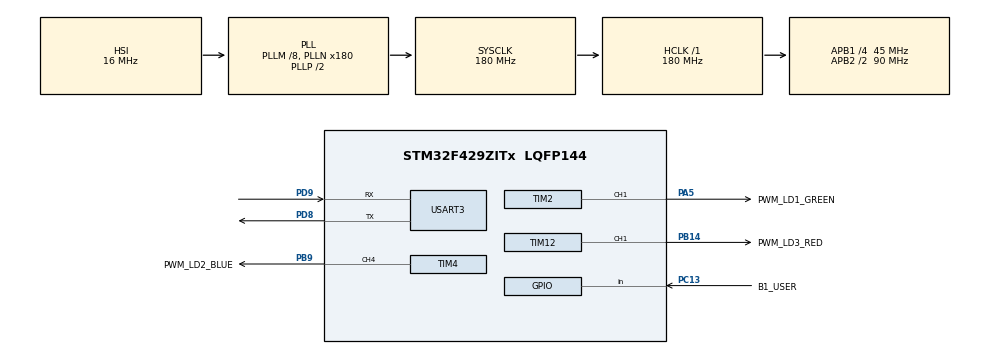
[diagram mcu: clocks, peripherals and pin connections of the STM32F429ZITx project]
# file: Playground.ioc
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Dma.Request0=USART3_RX
Dma.Request1=USART3_TX
Dma.USART3_RX.0.Direction=DMA_PERIPH_TO_MEMORY
Dma.USART3_RX.0.FIFOMode=DMA_FIFOMODE_DISABLE
Dma.USART3_RX.0.Instance=DMA1_Stream1
Dma.USART3_RX.0.MemDataAlignment=DMA_MDATAALIGN_BYTE
Dma.USART3_RX.0.MemInc=DMA_MINC_ENABLE
Dma.USART3_RX.0.Mode=DMA_NORMAL
Dma.USART3_RX.0.PeriphDataAlignment=DMA_PDATAALIGN_BYTE
Dma.USART3_RX.0.PeriphInc=DMA_PINC_DISABLE
Dma.USART3_RX.0.Priority=DMA_PRIORITY_LOW
Dma.USART3_TX.1.Direction=DMA_MEMORY_TO_PERIPH
Dma.USART3_TX.1.FIFOMode=DMA_FIFOMODE_DISABLE
Dma.USART3_TX.1.Instance=DMA1_Stream3
Dma.USART3_TX.1.MemDataAlignment=DMA_MDATAALIGN_BYTE
Dma.USART3_TX.1.MemInc=DMA_MINC_ENABLE
Dma.USART3_TX.1.Mode=DMA_NORMAL
Dma.USART3_TX.1.PeriphDataAlignment=DMA_PDATAALIGN_BYTE
Dma.USART3_TX.1.PeriphInc=DMA_PINC_DISABLE
Dma.USART3_TX.1.Priority=DMA_PRIORITY_LOW
FREERTOS.INCLUDE_uxTaskGetStackHighWaterMark2=1
FREERTOS.Queues01=QueSwd,16,uint8_t,0,Dynamic,NULL,NULL;QueRtc,4,sttRtcDateTime,0,Dynamic,NULL,NULL
FREERTOS.Tasks01=TSK_BUTTON,24,1024,TaskButton,Default,NULL,Dynamic,NULL,NULL;TSK_LED,24,1024,TaskLed,Default,NULL,Dynamic,NULL,NULL;TSK_SWD,8,1024,TaskSwd,Default,NULL,Dynamic,NULL,NULL;TSK_RTC,24,256,TaskRtc,Default,NULL,Dynamic,NULL,NULL
FREERTOS.configTOTAL_HEAP_SIZE=20480
FREERTOS.configUSE_IDLE_HOOK=1
FREERTOS.configUSE_NEWLIB_REENTRANT=1
FREERTOS.configUSE_TICK_HOOK=1
FREERTOS.copyHeapFile=1
Mcu.Family=STM32F4
Mcu.Name=STM32F429ZITx
Mcu.Package=LQFP144
NVIC.DMA1_Stream1_IRQn=true\:5\:0\:false\:false\:true\:true\:false\:true\:true
NVIC.DMA1_Stream3_IRQn=true\:5\:0\:false\:false\:true\:true\:false\:true\:true
NVIC.PriorityGroup=NVIC_PRIORITYGROUP_4
NVIC.RTC_WKUP_IRQn=true\:5\:0\:false\:false\:true\:true\:true\:true\:true
NVIC.TIM8_TRG_COM_TIM14_IRQn=true\:15\:0\:false\:false\:true\:false\:false\:true\:true
NVIC.TimeBase=TIM8_TRG_COM_TIM14_IRQn
NVIC.TimeBaseIP=TIM14
NVIC.USART3_IRQn=true\:5\:0\:false\:false\:true\:true\:true\:true\:true
PA13.Mode=Serial_Wire
PA13.Signal=SYS_JTMS-SWDIO
PA14.Mode=Serial_Wire
PA14.Signal=SYS_JTCK-SWCLK
PA5.GPIO_Label=PWM_LD1_GREEN
PA5.Signal=S_TIM2_CH1_ETR
PB14.GPIO_Label=PWM_LD3_RED
PB14.Signal=S_TIM12_CH1
PB9.GPIO_Label=PWM_LD2_BLUE
PB9.Signal=S_TIM4_CH4
PC13.GPIO_Label=B1_USER
PC13.GPIO_PuPd=GPIO_PULLUP
PC13.Signal=GPIO_Input
PC14/OSC32_IN.Mode=LSE-External-Oscillator
PC14/OSC32_IN.Signal=RCC_OSC32_IN
PC15/OSC32_OUT.Mode=LSE-External-Oscillator
PC15/OSC32_OUT.Signal=RCC_OSC32_OUT
PD8.Mode=Asynchronous
PD8.Signal=USART3_TX
PD9.Mode=Asynchronous
PD9.Signal=USART3_RX
ProjectManager.HeapSize=0x200
ProjectManager.StackSize=0x400
ProjectManager.TargetToolchain=STM32CubeIDE
RCC.48MHZClocksFreq_Value=90000000
RCC.AHBFreq_Value=180000000
RCC.APB1CLKDivider=RCC_HCLK_DIV4
RCC.APB1Freq_Value=45000000
RCC.APB1TimFreq_Value=90000000
RCC.APB2CLKDivider=RCC_HCLK_DIV2
RCC.APB2Freq_Value=90000000
RCC.APB2TimFreq_Value=180000000
RCC.CortexFreq_Value=180000000
RCC.HCLKFreq_Value=180000000
RCC.HSE_VALUE=25000000
RCC.HSI_VALUE=16000000
RCC.PLLM=8
RCC.PLLN=180
RCC.SYSCLKFreq_VALUE=180000000
RCC.SYSCLKSource=RCC_SYSCLKSOURCE_PLLCLK
RCC.VCOOutputFreq_Value=360000000
RTC.WakeUpClock=RTC_WAKEUPCLOCK_CK_SPRE_16BITS
SH.S_TIM12_CH1.0=TIM12_CH1,PWM Generation1 CH1
SH.S_TIM2_CH1_ETR.0=TIM2_CH1,PWM Generation1 CH1
SH.S_TIM4_CH4.0=TIM4_CH4,PWM Generation4 CH4
TIM12.Channel-PWM\ Generation1\ CH1=TIM_CHANNEL_1
TIM12.Period=8999
TIM2.Channel-PWM\ Generation1\ CH1=TIM_CHANNEL_1
TIM2.Period=8999
TIM4.Channel-PWM\ Generation4\ CH4=TIM_CHANNEL_4
TIM4.Period=8999
USART3.VirtualMode=VM_ASYNC
VP_FREERTOS_VS_CMSIS_V2.Mode=CMSIS_V2
VP_RTC_VS_RTC_Activate.Mode=RTC_Enabled
VP_RTC_VS_RTC_Calendar.Mode=RTC_Calendar
VP_RTC_VS_RTC_WakeUp_intern.Mode=WakeUp
VP_SYS_VS_tim14.Mode=TIM14
VP_TIM12_VS_ClockSourceINT.Mode=Internal
VP_TIM2_VS_ClockSourceINT.Mode=Internal
VP_TIM4_VS_ClockSourceINT.Mode=Internal
board=custom

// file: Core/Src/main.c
/* USER CODE BEGIN Header */
/**
  ******************************************************************************
  * @file           : main.c
  * @brief          : Main program body
  ******************************************************************************
  * @attention
  *
  * Copyright (c) 2024 STMicroelectronics.
  * All rights reserved.
  *
  * This software is licensed under terms that can be found in the LICENSE file
  * in the root directory of this software component.
  * If no LICENSE file comes with this software, it is provided AS-IS.
  *
  ******************************************************************************
  */
/* USER CODE END Header */
#include "main.h"
#include "cmsis_os.h"
#include "dma.h"
#include "rtc.h"
#include "tim.h"
#include "usart.h"
#include "gpio.h"

void SystemClock_Config(void);
void MX_FREERTOS_Init(void);

int main(void)
{

  /* MCU Configuration--------------------------------------------------------*/

  /* Reset of all peripherals, Initializes the Flash interface and the Systick. */
  HAL_Init();

  /* Configure the system clock */
  SystemClock_Config();

  /* Initialize all configured peripherals */
  MX_GPIO_Init();
  MX_DMA_Init();
  MX_TIM2_Init();
  MX_TIM4_Init();
  MX_TIM12_Init();
  MX_USART3_UART_Init();
  MX_RTC_Init();

  /* Init scheduler */
  osKernelInitialize();

  /* Call init function for freertos objects (in cmsis_os2.c) */
  MX_FREERTOS_Init();

  /* Start scheduler */
  osKernelStart();

  /* We should never get here as control is now taken by the scheduler */

  /* Infinite loop */
  while (1)
  {

  }
}

void SystemClock_Config(void)
{
  RCC_OscInitTypeDef RCC_OscInitStruct = {0};
  RCC_ClkInitTypeDef RCC_ClkInitStruct = {0};

  /** Configure the main internal regulator output voltage
  */
  __HAL_RCC_PWR_CLK_ENABLE();
  __HAL_PWR_VOLTAGESCALING_CONFIG(PWR_REGULATOR_VOLTAGE_SCALE1);

  /** Initializes the RCC Oscillators according to the specified parameters
  * in the RCC_OscInitTypeDef structure.
  */
  RCC_OscInitStruct.OscillatorType = RCC_OSCILLATORTYPE_HSI|RCC_OSCILLATORTYPE_LSI;
  RCC_OscInitStruct.HSIState = RCC_HSI_ON;
  RCC_OscInitStruct.HSICalibrationValue = RCC_HSICALIBRATION_DEFAULT;
  RCC_OscInitStruct.LSIState = RCC_LSI_ON;
  RCC_OscInitStruct.PLL.PLLState = RCC_PLL_ON;
  RCC_OscInitStruct.PLL.PLLSource = RCC_PLLSOURCE_HSI;
  RCC_OscInitStruct.PLL.PLLM = 8;
  RCC_OscInitStruct.PLL.PLLN = 180;
  RCC_OscInitStruct.PLL.PLLP = RCC_PLLP_DIV2;
  RCC_OscInitStruct.PLL.PLLQ = 4;
  if (HAL_RCC_OscConfig(&RCC_OscInitStruct) != HAL_OK)
  {
    Error_Handler();
  }

  /** Activate the Over-Drive mode
  */
  if (HAL_PWREx_EnableOverDrive() != HAL_OK)
  {
    Error_Handler();
  }

  /** Initializes the CPU, AHB and APB buses clocks
  */
  RCC_ClkInitStruct.ClockType = RCC_CLOCKTYPE_HCLK|RCC_CLOCKTYPE_SYSCLK
                              |RCC_CLOCKTYPE_PCLK1|RCC_CLOCKTYPE_PCLK2;
  RCC_ClkInitStruct.SYSCLKSource = RCC_SYSCLKSOURCE_PLLCLK;
  RCC_ClkInitStruct.AHBCLKDivider = RCC_SYSCLK_DIV1;
  RCC_ClkInitStruct.APB1CLKDivider = RCC_HCLK_DIV4;
  RCC_ClkInitStruct.APB2CLKDivider = RCC_HCLK_DIV2;

  if (HAL_RCC_ClockConfig(&RCC_ClkInitStruct, FLASH_LATENCY_5) != HAL_OK)
  {
    Error_Handler();
  }
}

void HAL_TIM_PeriodElapsedCallback(TIM_HandleTypeDef *htim)
{
  if (htim->Instance == TIM14) {
    HAL_IncTick();
  }
}

void Error_Handler(void)
{
  __disable_irq();
  while (1)
  {
  }
}

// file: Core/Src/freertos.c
/* USER CODE BEGIN Header */
/**
  ******************************************************************************
  * File Name          : freertos.c
  * Description        : Code for freertos applications
  ******************************************************************************
  * @attention
  *
  * Copyright (c) 2024 STMicroelectronics.
  * All rights reserved.
  *
  * This software is licensed under terms that can be found in the LICENSE file
  * in the root directory of this software component.
  * If no LICENSE file comes with this software, it is provided AS-IS.
  *
  ******************************************************************************
  */
/* USER CODE END Header */

#include "FreeRTOS.h"
#include "task.h"
#include "main.h"
#include "cmsis_os.h"

/* USER CODE BEGIN Includes */
#include "Service/ServicePeriodic.h"
#include "Service/ServiceRtc.h"
#include "Task/TaskButton.h"
#include "Task/TaskLed.h"
#include "Task/TaskSwd.h"
#include "Task/TaskRtc.h"
#include "Tool/ToolSwd.h"

/* USER CODE END Includes */

/* USER CODE BEGIN Variables */
static uint32_t gulTickCounter;

/* USER CODE END Variables */
/* Definitions for TSK_BUTTON */
osThreadId_t TSK_BUTTONHandle;
const osThreadAttr_t TSK_BUTTON_attributes = {
  .name = "TSK_BUTTON",
  .stack_size = 1024 * 4,
  .priority = (osPriority_t) osPriorityNormal,
};
/* Definitions for TSK_LED */
osThreadId_t TSK_LEDHandle;
const osThreadAttr_t TSK_LED_attributes = {
  .name = "TSK_LED",
  .stack_size = 1024 * 4,
  .priority = (osPriority_t) osPriorityNormal,
};
/* Definitions for TSK_SWD */
osThreadId_t TSK_SWDHandle;
const osThreadAttr_t TSK_SWD_attributes = {
  .name = "TSK_SWD",
  .stack_size = 1024 * 4,
  .priority = (osPriority_t) osPriorityLow,
};
/* Definitions for TSK_RTC */
osThreadId_t TSK_RTCHandle;
const osThreadAttr_t TSK_RTC_attributes = {
  .name = "TSK_RTC",
  .stack_size = 256 * 4,
  .priority = (osPriority_t) osPriorityNormal,
};
/* Definitions for QueSwd */
osMessageQueueId_t QueSwdHandle;
const osMessageQueueAttr_t QueSwd_attributes = {
  .name = "QueSwd"
};
/* Definitions for QueRtc */
osMessageQueueId_t QueRtcHandle;
const osMessageQueueAttr_t QueRtc_attributes = {
  .name = "QueRtc"
};

void TaskButton(void *argument);
void TaskLed(void *argument);
void TaskSwd(void *argument);
void TaskRtc(void *argument);

void MX_FREERTOS_Init(void); /* (MISRA C 2004 rule 8.1) */

/* Hook prototypes */
void vApplicationIdleHook(void);
void vApplicationTickHook(void);

/* USER CODE BEGIN 2 */
void vApplicationIdleHook( void )
{
   /* vApplicationIdleHook() will only be called if configUSE_IDLE_HOOK is set
   to 1 in FreeRTOSConfig.h. It will be called on each iteration of the idle
   task. It is essential that code added to this hook function never attempts
   to block in any way (for example, call xQueueReceive() with a block time
   specified, or call vTaskDelay()). If the application makes use of the
   vTaskDelete() API function (as this demo application does) then it is also
   important that vApplicationIdleHook() is permitted to return to its calling
   function, because it is the responsibility of the idle task to clean up
   memory allocated by the kernel to any task that has since been deleted. */
}
/* USER CODE END 2 */

/* USER CODE BEGIN 3 */
void vApplicationTickHook( void )
{
   /* This function will be called by each tick interrupt if
   configUSE_TICK_HOOK is set to 1 in FreeRTOSConfig.h. User code can be
   added here, but the tick hook is called from an interrupt context, so
   code must not attempt to block, and only the interrupt safe FreeRTOS API
   functions can be used (those that end in FromISR()). */
  uint8_t i;

  for (i=0; i<SRV_PRD_MAX; i++)
  {
    if (gulTickCounter % gstSrvPrdTbl[i].u32Period == 0)
    {
      if (gstSrvPrdTbl[i].pfService != NULL)
      {
        gstSrvPrdTbl[i].pfService(NULL);
      }
    }
  }
  gulTickCounter++;

}
/* USER CODE END 3 */

void MX_FREERTOS_Init(void) {
  /* USER CODE BEGIN Init */
  vSrvPrdInitialize();
  vToolSwdInitialize();
  gulTickCounter = 0;

  /* USER CODE END Init */

  /* Create the queue(s) */
  /* creation of QueSwd */
  QueSwdHandle = osMessageQueueNew (16, sizeof(uint8_t), &QueSwd_attributes);

  /* creation of QueRtc */
  QueRtcHandle = osMessageQueueNew (4, sizeof(sttRtcDateTime), &QueRtc_attributes);

  /* Create the thread(s) */
  /* creation of TSK_BUTTON */
  TSK_BUTTONHandle = osThreadNew(TaskButton, NULL, &TSK_BUTTON_attributes);

  /* creation of TSK_LED */
  TSK_LEDHandle = osThreadNew(TaskLed, NULL, &TSK_LED_attributes);

  /* creation of TSK_SWD */
  TSK_SWDHandle = osThreadNew(TaskSwd, NULL, &TSK_SWD_attributes);

  /* creation of TSK_RTC */
  TSK_RTCHandle = osThreadNew(TaskRtc, NULL, &TSK_RTC_attributes);

}

void TaskButton(void *argument)
{
  /* USER CODE BEGIN TaskButton */
  vTaskButtonInitialize();

  /* Infinite loop */
  for(;;)
  {
    vTaskButtonProcess();
    osDelay(1000);
  }
  /* USER CODE END TaskButton */
}

void TaskLed(void *argument)
{
  /* USER CODE BEGIN TaskLed */
  vTaskLedInitialize();

  /* Infinite loop */
  for(;;)
  {
    vTaskLedProcess();
    osDelay(1000);
  }
  /* USER CODE END TaskLed */
}

void TaskSwd(void *argument)
{
  /* USER CODE BEGIN TaskSwd */
  vTaskSwdInitialize();

  /* Infinite loop */
  for(;;)
  {
    vTaskSwdProcess();
  }
  /* USER CODE END TaskSwd */
}

void TaskRtc(void *argument)
{
  /* USER CODE BEGIN TaskRtc */
  vTaskRtcInitialize();
  /* Infinite loop */
  for(;;)
  {
    vTaskRtcProcess();
  }
  /* USER CODE END TaskRtc */
}
